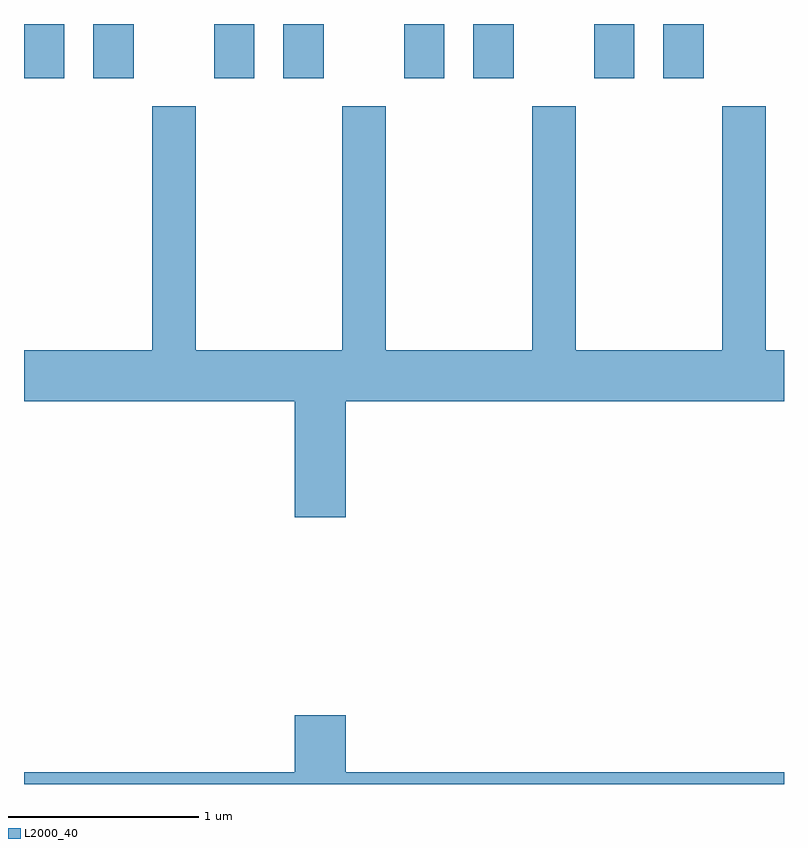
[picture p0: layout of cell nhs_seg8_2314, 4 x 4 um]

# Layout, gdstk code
import gdstk
lib = gdstk.Library(unit=1e-6, precision=1e-09)
def R(c, l, rs):  # rectangles x0, y0, x1, y1
    for r in rs: c.add(gdstk.rectangle(r[:2], r[2:], *l))
def P(c, l, *ps):  # polygons
    for p in ps: c.add(gdstk.Polygon(p, *l))
L2000_40 = (2000, 40)

nhs_seg8_2314 = lib.new_cell('nhs_seg8_2314')
R(nhs_seg8_2314, L2000_40, [(253.611,1898.056,253.824,1898.342), (253.976,1898.056,254.189,1898.342), (254.611,1898.056,254.824,1898.342), (254.976,1898.056,255.189,1898.342), (255.611,1898.056,255.824,1898.342), (255.976,1898.056,256.189,1898.342), (256.611,1898.056,256.824,1898.342), (256.976,1898.056,257.189,1898.342)])
P(nhs_seg8_2314, L2000_40, [(255.304,1896.356),(257.611,1896.356),(257.611,1896.624),(257.514,1896.624),(257.514,1897.909),(257.286,1897.909),(257.286,1896.624),(256.514,1896.624),(256.514,1897.909),(256.286,1897.909),(256.286,1896.624),(255.514,1896.624),(255.514,1897.909),(255.286,1897.909),(255.286,1896.624),(254.514,1896.624),(254.514,1897.909),(254.286,1897.909),(254.286,1896.624),(253.611,1896.624),(253.611,1896.356),(255.036,1896.356),(255.036,1895.746),(255.304,1895.746)],
  [(257.611,1894.404),(255.304,1894.404),(255.304,1894.704),(255.036,1894.704),(255.036,1894.404),(253.611,1894.404),(253.611,1894.342),(257.611,1894.342)])

lib.write_gds('nhs_seg8_2314.gds')
